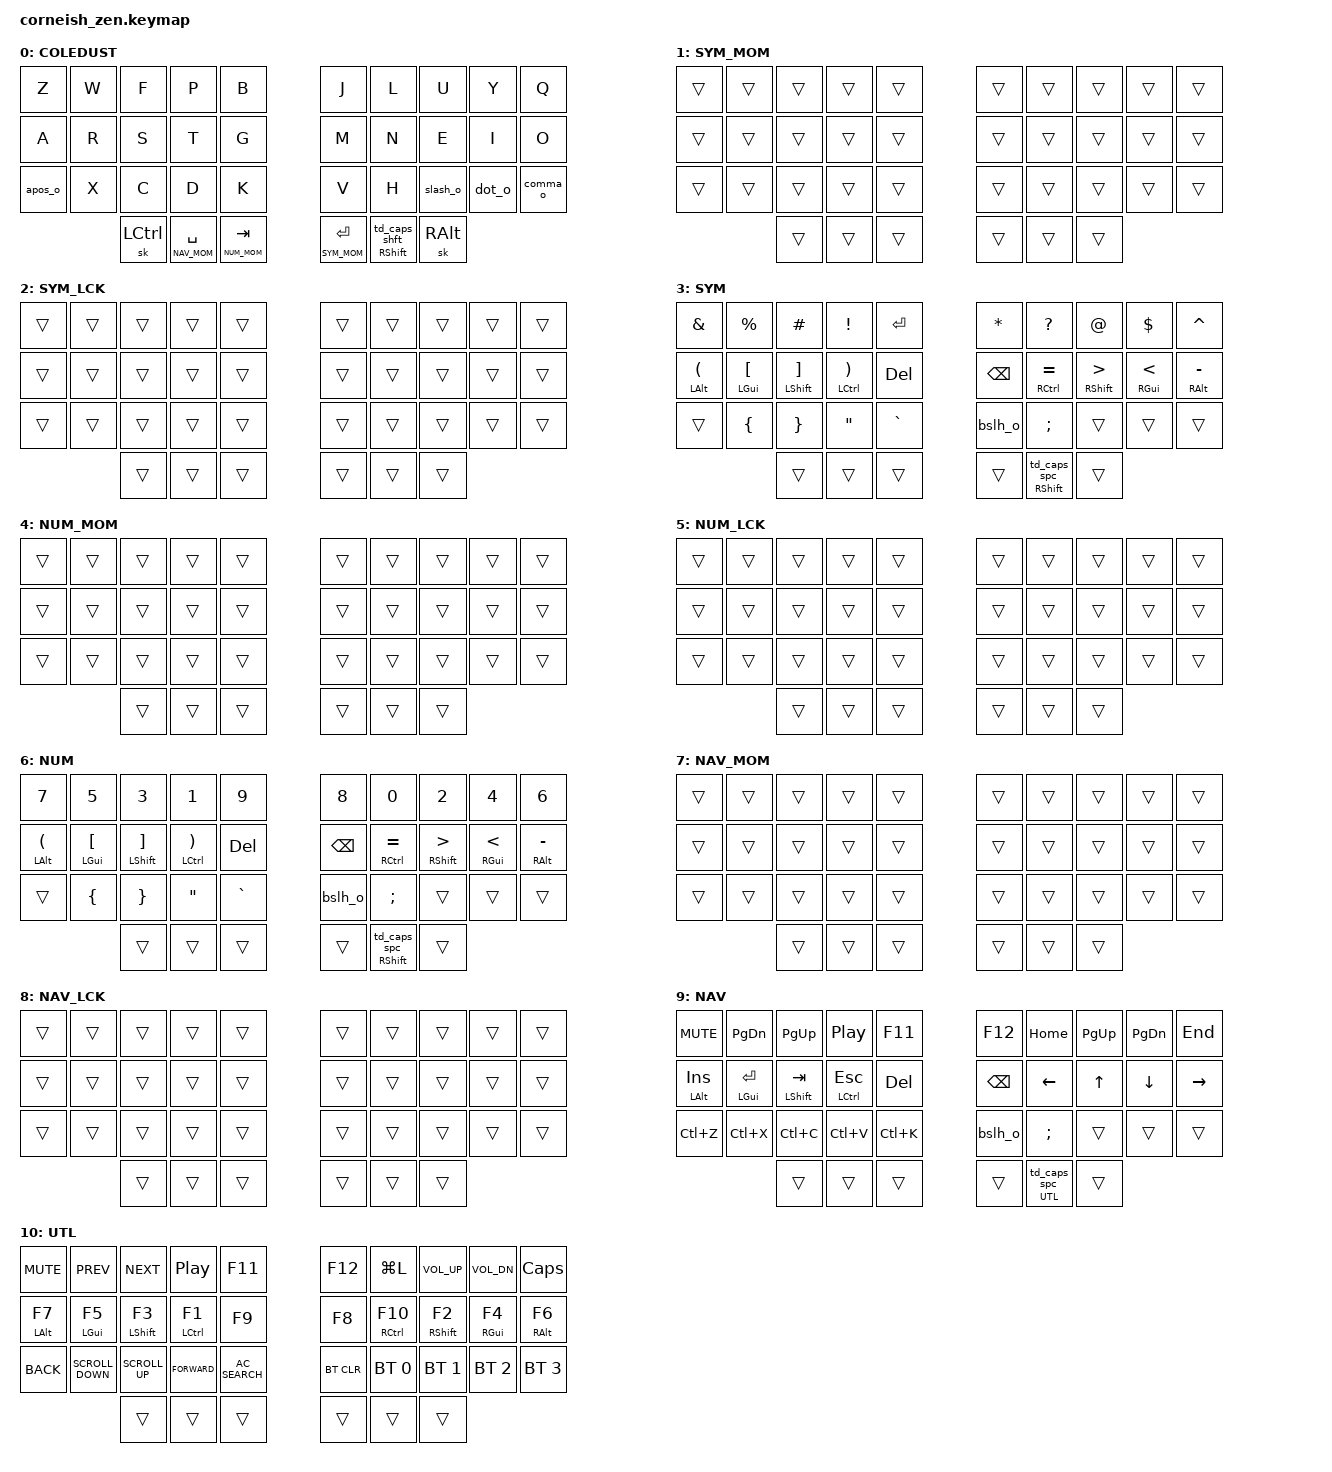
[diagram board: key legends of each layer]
#include <behaviors.dtsi>
#include <dt-bindings/zmk/keys.h>
#include <dt-bindings/zmk/bt.h>

#define DFT      0
#define SYM_MOM  1
#define SYM_LCK  2
#define SYM      3
#define NUM_MOM  4
#define NUM_LCK  5
#define NUM      6
#define NAV_MOM  7
#define NAV_LCK  8
#define NAV      9
#define UTL      10


/ {
  chosen {
      zmk,physical-layout = &foostan_corne_6col_layout;
      // zmk,physical-layout = &foostan_corne_5col_layout;
  };
};

/ {
conditional_layers {
    compatible = "zmk,conditional-layers";
    nav_mom {
        if-layers = <NAV_MOM>;
        then-layer = <NAV>;
    };
    nav_lck {
        if-layers = <NAV_LCK>;
        then-layer = <NAV>;
    };
    num_mom {
        if-layers = <NUM_MOM>;
        then-layer = <NUM>;
    };
    num_lck {
        if-layers = <NUM_LCK>;
        then-layer = <NUM>;
    };
    sym_mom {
        if-layers = <SYM_MOM>;
        then-layer = <SYM>;
    };
    sym_lck {
        if-layers = <SYM_LCK>;
        then-layer = <SYM>;
    };
};

behaviors {
  hm: homerow_mods {
        compatible = "zmk,behavior-hold-tap";
        label = "HOMEROW_MODS";
        #binding-cells = <2>;
        tapping_term_ms = <200>;
        flavor = "tap-preferred";
        bindings = <&kp>, <&kp>;
  };

  td_caps_shft: shift_tap_dance {
      compatible = "zmk,behavior-tap-dance";
      #binding-cells = <0>;
      tapping-term-ms = <200>;
      bindings = <&sk LSHFT>, <&caps_word>, <&kp CAPSLOCK>;
  };
  mt_caps_shft: modtap_caps_shift_tap_dance {
      compatible = "zmk,behavior-hold-tap";
      label = "modtap_caps_shift_tap_dance";
      #binding-cells = <2>;
      flavor = "tap-preferred";
      tapping-term-ms = <200>;
      quick-tap-ms = <175>;
      bindings = <&kp>, <&td_caps_shft>;
  };
  td_caps_spc:  space_tap_dance {
      compatible = "zmk,behavior-tap-dance";
      #binding-cells = <0>;
      tapping-term-ms = <200>;
      bindings = <&kp SPACE>, <&caps_word>, <&kp SPACE>;
  };
  lt_caps_spc: layertap_capsword_space_tap_dance {
      compatible = "zmk,behavior-hold-tap";
      label = "layertap_capsword_space_tap_dance";
      #binding-cells = <2>;
      flavor = "tap-preferred";
      tapping-term-ms = <200>;
      quick-tap-ms = <175>;
      bindings = <&mo>, <&td_caps_spc>;
  };
  mt_caps_spc: modtap_caps_space_tap_dance {
      compatible = "zmk,behavior-hold-tap";
      label = "modtap_caps_space_tap_dance";
      #binding-cells = <2>;
      flavor = "tap-preferred";
      tapping-term-ms = <200>;
      quick-tap-ms = <175>;
      bindings = <&kp>, <&td_caps_spc>;
  };

  apos_o: apos_only {
      compatible = "zmk,behavior-mod-morph";
      #binding-cells = <0>;
      bindings = <&kp APOS>, <&kp APOS>;
      mods = <(MOD_LSFT|MOD_RSFT)>;
  };
  grave_o: grave_only {
      compatible = "zmk,behavior-mod-morph";
      #binding-cells = <0>;
      bindings = <&kp GRAVE>, <&kp GRAVE>;
      mods = <(MOD_LSFT|MOD_RSFT)>;
  };
  semi_o: semi_only {
      compatible = "zmk,behavior-mod-morph";
      #binding-cells = <0>;
      bindings = <&kp SEMI>, <&kp SEMI>;
      mods = <(MOD_LSFT|MOD_RSFT)>;
  };
  bslh_o: bslh_only {
      compatible = "zmk,behavior-mod-morph";
      #binding-cells = <0>;
      bindings = <&kp BSLH>, <&kp BSLH>;
      mods = <(MOD_LSFT|MOD_RSFT)>;
  };
  slash_o: slash_only {
      compatible = "zmk,behavior-mod-morph";
      #binding-cells = <0>;
      bindings = <&kp SLASH>, <&kp SLASH>;
      mods = <(MOD_LSFT|MOD_RSFT)>;
  };
  dot_o: dot_only {
      compatible = "zmk,behavior-mod-morph";
      #binding-cells = <0>;
      bindings = <&kp DOT>, <&kp DOT>;
      mods = <(MOD_LSFT|MOD_RSFT)>;
  };
  comma_o: comma_only {
      compatible = "zmk,behavior-mod-morph";
      #binding-cells = <0>;
      bindings = <&kp COMMA>, <&kp COMMA>;
      mods = <(MOD_LSFT|MOD_RSFT)>;
  };


  combos {
    compatible = "zmk,combos";
    
  // ---------------------------- Combos ----------------------------
  // |#####|  %  |  #  |  !  |  &  |  *  |  ^  |  @  |  $  |#####|
  //    7     5     3     1     9     8     0     2     4     6
  // |#####| ALT | LCK |     | DEL | BSPC|  :  |  _  |  -  |#####|
  //    (     [     ]     )     ~     |     =     >     <     +
  // |#####|  {  |  }  |  "  |  `  |  \  |  ;  |  ?  |  |  |#####|
  //             |     |     |     |     |     |     |

    // LHS Vertical 2-key combos
    combo2_7_vert {
        timeout-ms = <50>;
        key-positions = <0 10>;
        bindings = <&kp N7>;
        layers = <DFT NAV NUM SYM>;
    };
    combo2_5_vert {
        timeout-ms = <50>;
        key-positions = <1 11>;
        bindings = <&kp N5>;
        layers = <DFT NAV NUM SYM>;
    };
    combo2_3_vert {
        timeout-ms = <50>;
        key-positions = <2 12>;
        bindings = <&kp N3>;
        layers = <DFT NAV NUM SYM>;
    };
    combo2_1_vert {
        timeout-ms = <50>;
        key-positions = <3 13>;
        bindings = <&kp N1>;
        layers = <DFT NAV NUM SYM>;
    };
    combo2_9_vert {
        timeout-ms = <50>;
        key-positions = <4 14>;
        bindings = <&kp N9>;
        layers = <DFT NAV NUM SYM>;
    };

    combo2_lpar_vert {
        timeout-ms = <50>;
        key-positions = <10 20>;
        bindings = <&kp LPAR>;
        layers = <DFT NAV NUM SYM>;
    };
    combo2_lbkt_vert {
        timeout-ms = <50>;
        key-positions = <11 21>;
        bindings = <&kp LBKT>;
        layers = <DFT NAV NUM SYM>;
    };
    combo2_rbkt_vert {
        timeout-ms = <50>;
        key-positions = <12 22>;
        bindings = <&kp RBKT>;
        layers = <DFT NAV NUM SYM>;
    };
    combo2_rpar_vert {
        timeout-ms = <50>;
        key-positions = <13 23>;
        bindings = <&kp RPAR>;
        layers = <DFT NAV NUM SYM>;
    };
    combo2_tilde_vert {
        timeout-ms = <50>;
        key-positions = <14 24>;
        bindings = <&kp TILDE>;
        layers = <DFT NAV NUM SYM>;
    };

    // LHS 2-key combos
    combo2_percent {
        timeout-ms = <50>;
        key-positions = <0 1>;
        bindings = <&kp PERCENT>;
        layers = <DFT NAV NUM SYM>;
    };
    combo2_hash {
        timeout-ms = <50>;
        key-positions = <1 2>;
        bindings = <&kp HASH>;
        layers = <DFT NAV NUM SYM>;
    };
    combo2_excl {
        timeout-ms = <50>;
        key-positions = <2 3>;
        bindings = <&kp EXCL>;
        layers = <DFT NAV NUM SYM>;
    };
    combo2_ampersand {
        timeout-ms = <50>;
        key-positions = <3 4>;
        bindings = <&kp AMPERSAND>;
        layers = <DFT NAV NUM SYM>;
    };

    combo2_alt {
        timeout-ms = <50>;
        key-positions = <10 11>;
        bindings = <&sk LALT>;
        layers = <DFT NAV NUM SYM>;
    };    
    combo2_nav_lck {
        timeout-ms = <50>;
        key-positions = <11 12>;
        bindings = <&tog NAV_LCK>;
        layers = <NAV>;
    };
    combo2_num_lck {
        timeout-ms = <50>;
        key-positions = <11 12>;
        bindings = <&tog NUM_LCK>;
        layers = <NUM>;
    };
    combo2_sym_lck {
        timeout-ms = <50>;
        key-positions = <11 12>;
        bindings = <&tog SYM_LCK>;
        layers = <SYM>;
    };
    combo2_del {
        timeout-ms = <50>;
        key-positions = <13 14>;
        bindings = <&kp DEL>;
        layers = <DFT NAV NUM SYM>;
    };

    combo2_lbrc {
        timeout-ms = <50>;
        key-positions = <20 21>;
        bindings = <&kp LBRC>;
        layers = <DFT NAV NUM SYM>;
    };
    combo2_rbrc {
        timeout-ms = <50>;
        key-positions = <21 22>;
        bindings = <&kp RBRC>;
        layers = <DFT NAV NUM SYM>;
    };
    combo2_dqt {
        timeout-ms = <50>;
        key-positions = <22 23>;
        bindings = <&kp DQT>;
        layers = <DFT NAV NUM SYM>;
    };
    combo2_grave {
        timeout-ms = <50>;
        key-positions = <23 24>;
        bindings = <&grave_o>;
        layers = <DFT NAV NUM SYM>;
    };

    // LHS 3-key combos
    combo3_mute {
        timeout-ms = <50>;
        key-positions = <0 1 2>;
        bindings = <&kp C_MUTE>;
        layers = <DFT NAV NUM SYM>;
    };
    combo3_play {
        timeout-ms = <50>;
        key-positions = <1 2 3>;
        bindings = <&kp C_PP>;
        layers = <DFT NAV NUM SYM>;
    };
    combo3_one {
        timeout-ms = <50>;
        key-positions = <2 3 4>;
        bindings = <&kp N1>;
        layers = <DFT NAV NUM SYM>;
    };  
    
    combo3_lpar {
        timeout-ms = <50>;
        key-positions = <10 11 12>;
        bindings = <&kp LPAR>;
        layers = <DFT NAV NUM SYM>;
    };
    combo3_rpar {
        timeout-ms = <50>;
        key-positions = <11 12 13>;
        bindings = <&kp RPAR>;
        layers = <DFT NAV NUM SYM>;
    };
    combo3_del {
        timeout-ms = <50>;
        key-positions = <12 13 14>;
        bindings = <&kp DEL>;
        layers = <DFT NAV NUM SYM>;
    };
    
    combo3_lbkt {
        timeout-ms = <50>;
        key-positions = <20 21 22>;
        bindings = <&kp LBKT>;
        layers = <DFT NAV NUM SYM>;
    };
    combo3_rbkt {
        timeout-ms = <50>;
        key-positions = <21 22 23>;
        bindings = <&kp RBKT>;
        layers = <DFT NAV NUM SYM>;
    };
    combo3_semi_lhs {
        timeout-ms = <50>;
        key-positions = <22 23 24>;
        bindings = <&semi_o>;
        layers = <DFT NAV NUM SYM>;
    };

    // LHS 4-key combos
    combo4_shifttab {
        timeout-ms = <50>;
        key-positions = <0 1 2 3>;
        bindings = <&kp LS(TAB)>;
        layers = <DFT NAV NUM SYM>;
    };
    combo4_shiftenter {
        timeout-ms = <50>;
        key-positions = <1 2 3 4>;
        bindings = <&kp LS(ENTER)>;
        layers = <DFT NAV NUM SYM>;
    };

    combo4_esc {
        timeout-ms = <50>;
        key-positions = <10 11 12 13>;
        bindings = <&kp ESC>;
        layers = <DFT NAV NUM SYM>;
    };
    combo4_enter {
        timeout-ms = <50>;
        key-positions = <11 12 13 14>;
        bindings = <&kp ENTER>;
        layers = <DFT NAV NUM SYM>;
    };

    combo4_left {
        timeout-ms = <50>;
        key-positions = <20 21 22 23>;
        bindings = <&kp LEFT>;
        layers = <DFT NAV NUM SYM>;
    };
    combo4_right {
        timeout-ms = <50>;
        key-positions = <21 22 23 24>;
        bindings = <&kp RIGHT>;
        layers = <DFT NAV NUM SYM>;
    };

    // RHS Combos
    // ----------------------------------------------------------------------------------------------------------------------------

    // RHS vertical combos    
    combo2_8_vert {
        timeout-ms = <50>;
        key-positions = <5 15>;
        bindings = <&kp N8>;
        layers = <DFT NAV NUM SYM>;
    };
    combo2_0_vert {
        timeout-ms = <50>;
        key-positions = <6 16>;
        bindings = <&kp N0>;
        layers = <DFT NAV NUM SYM>;
    };
    combo2_2_vert {
        timeout-ms = <50>;
        key-positions = <7 17>;
        bindings = <&kp N2>;
        layers = <DFT NAV NUM SYM>;
    };
    combo2_4_vert {
        timeout-ms = <50>;
        key-positions = <8 18>;
        bindings = <&kp N4>;
        layers = <DFT NAV NUM SYM>;
    };
    combo2_6_vert {
        timeout-ms = <50>;
        key-positions = <9 19>;
        bindings = <&kp N6>;
        layers = <DFT NAV NUM SYM>;
    };

    combo2_pipe_vert {
        timeout-ms = <50>;
        key-positions = <15 25>;
        bindings = <&kp PIPE>;
        layers = <DFT NAV NUM SYM>;
    };
    combo2_equal_vert {
        timeout-ms = <50>;
        key-positions = <16 26>;
        bindings = <&kp EQUAL>;
        layers = <DFT NAV NUM SYM>;
    };
    combo2_gt_vert {
        timeout-ms = <50>;
        key-positions = <17 27>;
        bindings = <&kp GT>;
        layers = <DFT NAV NUM SYM>;
    };
    combo2_lt_vert {
        timeout-ms = <50>;
        key-positions = <18 28>;
        bindings = <&kp LT>;
        layers = <DFT NAV NUM SYM>;
    };
    combo2_plus_vert {
        timeout-ms = <50>;
        key-positions = <19 29>;
        bindings = <&kp PLUS>;
        layers = <DFT NAV NUM SYM>;
    };

    // RHS 2-key combos    
    combo2_star {
        timeout-ms = <50>;
        key-positions = <5 6>;
        bindings = <&kp STAR>;
        layers = <DFT NAV NUM SYM>;
    };
    combo2_caret {
        timeout-ms = <50>;
        key-positions = <6 7>;
        bindings = <&kp CARET>;
        layers = <DFT NAV NUM SYM>;
    };
    combo2_at {
        timeout-ms = <50>;
        key-positions = <7 8>;
        bindings = <&kp AT_SIGN>;
        layers = <DFT NAV NUM SYM>;
    };
    combo2_dollar {
        timeout-ms = <50>;
        key-positions = <8 9>;
        bindings = <&kp DOLLAR>;
        layers = <DFT NAV NUM SYM>;
    };

    combo2_bspc {
        timeout-ms = <50>;
        key-positions = <15 16>;
        bindings = <&kp BSPC>;
        layers = <DFT NAV NUM SYM>;
    };
    combo2_colon {
        timeout-ms = <50>;
        key-positions = <16 17>;
        bindings = <&kp COLON>;
        layers = <DFT NAV NUM SYM>;
    };
    combo2_underscore {
        timeout-ms = <50>;
        key-positions = <17 18>;
        bindings = <&kp UNDERSCORE>;
        layers = <DFT NAV NUM SYM>;
    };
    combo2_minus {
        timeout-ms = <50>;
        key-positions = <18 19>;
        bindings = <&kp MINUS>;
        layers = <DFT NAV NUM SYM>;
    };

    combo2_bslh {
        timeout-ms = <50>;
        key-positions = <25 26>;
        bindings = <&bslh_o>;
        layers = <DFT NAV NUM SYM>;
    };
    combo2_semi {
        timeout-ms = <50>;
        key-positions = <26 27>;
        bindings = <&kp SEMI>;
        layers = <DFT NAV NUM SYM>;
    };
    combo2_question {
        timeout-ms = <50>;
        key-positions = <27 28>;
        bindings = <&kp QUESTION>;
        layers = <DFT NAV NUM SYM>;
    };
    combo2_pipe {
        timeout-ms = <50>;
        key-positions = <28 29>;
        bindings = <&kp PIPE>;
        layers = <DFT NAV NUM SYM>;
    };

    // RHS 3-key combos
    combo3_zero {
        timeout-ms = <50>;
        key-positions = <5 6 7>;
        bindings = <&kp N0>;
        layers = <DFT NAV NUM SYM>;
    };
    combo3_caret {
        timeout-ms = <50>;
        key-positions = <6 7 8>;
        bindings = <&kp CARET>;
        layers = <DFT NAV NUM SYM>;
    };
    combo3_dollar {
        timeout-ms = <50>;
        key-positions = <7 8 9>;
        bindings = <&kp DOLLAR>;
        layers = <DFT NAV NUM SYM>;
    };
    
    combo3_app {
        timeout-ms = <50>;
        key-positions = <15 16 17>;
        bindings = <&kp K_APP>;
        layers = <DFT NAV NUM SYM>;
    };
    combo3_rbrc_rhs {
        timeout-ms = <50>;
        key-positions = <16 17 18>;
        bindings = <&kp RBRC>;
        layers = <DFT NAV NUM SYM>;
    };
    combo3_lbrc_rhs {
        timeout-ms = <50>;
        key-positions = <17 18 19>;
        bindings = <&kp LBRC>;
        layers = <DFT NAV NUM SYM>;
    };
    
    combo3_semi_rhs {
        timeout-ms = <50>;
        key-positions = <25 26 27>;
        bindings = <&semi_o>;
        layers = <DFT NAV NUM SYM>;
    };
    combo3_gt {
        timeout-ms = <50>;
        key-positions = <26 27 28>;
        bindings = <&kp GT>;
        layers = <DFT NAV NUM SYM>;
    };
    combo3_lt {
        timeout-ms = <50>;
        key-positions = <27 28 29>;
        bindings = <&kp LT>;
        layers = <DFT NAV NUM SYM>;
    };

    // RHS 4-key combos
    combo4_pgup {
        timeout-ms = <50>;
        key-positions = <5 6 7 8>;
        bindings = <&kp PGUP>;
        layers = <DFT NAV NUM SYM>;
    };  
    combo4_pgdn {
        timeout-ms = <50>;
        key-positions = <6 7 8 9>;
        bindings = <&kp PGDN>;
        layers = <DFT NAV NUM SYM>;
    };
    
    combo4_end {
        timeout-ms = <50>;
        key-positions = <15 16 17 18>;
        bindings = <&kp END>;
        layers = <DFT NAV NUM SYM>;
    };  
    combo4_home {
        timeout-ms = <50>;
        key-positions = <16 17 18 19>;
        bindings = <&kp HOME>;
        layers = <DFT NAV NUM SYM>;
    };

    combo4_up {
        timeout-ms = <50>;
        key-positions = <25 26 27 28>;
        bindings = <&kp UP>;
        layers = <DFT NAV NUM SYM>;
    };
    combo4_down {
        timeout-ms = <50>;
        key-positions = <26 27 28 29>;
        bindings = <&kp DOWN>;
        layers = <DFT NAV NUM SYM>;
    };

  };

};

        keymap {
                compatible = "zmk,keymap";

                default_layer {
                        label = "COLEDUST";
// -----------------------------------------------------------------------------------------
// |  Z  |  W  |  F  |  P    |  B    |    J  |   L   |  U  |  Y  |  Q  |
// |  A  |  R  |  S  |  T    |  G    |    M  |   N   |  E  |  I  |  O  |
// |  '  |  X  |  C  |  D    |  K    |    V  |   H   |  /  |  .  |  ,  |
//             | CTL |NAV/SFT|NUM/TAB|SYM/ENT|SFT/SPC| ALT |
                        bindings = <
   &kp Z         &kp W        &kp F                   &kp P           &kp B       &kp J      &kp L             &kp U                  &kp Y       &kp Q
   &kp A         &kp R        &kp S                   &kp T           &kp G       &kp M      &kp N             &kp E                  &kp I       &kp O
   &apos_o       &kp X        &kp C                   &kp D           &kp K       &kp V      &kp H             &slash_o               &dot_o      &comma_o
                 &sk LCTRL    &lt NAV_MOM SPACE       &lt NUM_MOM TAB                        &lt SYM_MOM ENTER &mt_caps_shft RSHFT 0   &sk RALT
                        >;
                };

                sym_mom_layer {
                        label = "SYM_MOM";
                        bindings = <
   &trans       &trans       &trans       &trans       &trans              &trans       &trans       &trans       &trans       &trans
   &trans       &trans       &trans       &trans       &trans              &trans       &trans       &trans       &trans       &trans
   &trans       &trans       &trans       &trans       &trans              &trans       &trans       &trans       &trans       &trans
                &trans       &trans       &trans                                        &trans       &trans       &trans
                        >;
                };

                sym_lck_layer {
                        label = "SYM_LCK";
                        bindings = <
   &trans       &trans       &trans       &trans       &trans              &trans       &trans       &trans       &trans       &trans
   &trans       &trans       &trans       &trans       &trans              &trans       &trans       &trans       &trans       &trans
   &trans       &trans       &trans       &trans       &trans              &trans       &trans       &trans       &trans       &trans
                &trans       &trans      &trans                            &trans       &trans       &trans
                        >;
                };

                sym_layer {
                        label = "SYM";
// --------------------------- SYM Layer ---------------------------
// |  &  |  %  |  #  |  !  |ENTER|  *  |  ?  |  @  |  $  |  ^  |
// |  (  |  [  |  ]  |  )  | DEL | BSPC|  =  |  >  |  <  |  -  |
// |  '  |  {  |  }  |  "  |  `  |  \  |  ;  |  /  |  .  |  ,  |
//             |     |     |     |     |     |     |
                        bindings = <
   &kp AMPERSAND &kp PERCENT   &kp HASH          &kp EXCL       &kp ENTER   &kp STAR   &kp QUESTION    &kp AT_SIGN            &kp DOLLAR     &kp CARET
   &hm LALT LPAR &hm LGUI LBKT &hm LSHFT RBKT    &hm LCTRL RPAR &kp DEL     &kp BSPC   &hm RCTRL EQUAL &hm RSHFT GT           &hm RGUI LT    &hm RALT MINUS
   &trans        &kp LBRC      &kp RBRC          &kp DQT        &kp GRAVE   &bslh_o    &kp SEMI        &trans                 &trans         &trans
                 &trans        &trans            &trans                                &trans          &mt_caps_spc RSHFT 0   &trans
                        >;
                };

                num_mom_layer {
                        label = "NUM_MOM";
                        bindings = <
   &trans       &trans       &trans       &trans       &trans              &trans       &trans       &trans       &trans       &trans
   &trans       &trans       &trans       &trans       &trans              &trans       &trans       &trans       &trans       &trans
   &trans       &trans       &trans       &trans       &trans              &trans       &trans       &trans       &trans       &trans
                &trans       &trans       &trans                                        &trans       &trans       &trans
                        >;
                };

                num_lck_layer {
                        label = "NUM_LCK";
                        bindings = <
   &trans       &trans       &trans       &trans       &trans              &trans       &trans       &trans       &trans       &trans
   &trans       &trans       &trans       &trans       &trans              &trans       &trans       &trans       &trans       &trans
   &trans       &trans       &trans       &trans       &trans              &trans       &trans       &trans       &trans       &trans
                &trans       &trans       &trans                                        &trans       &trans       &trans
                        >;
                };

                num_layer {
                        label = "NUM";
// -----------------------------------------------------------------------------------------
// |  7  |  5  |  3  |  1  |  9  |  8  |  0  |  2  |  4  |  6  |
// |  (  |  [  |  ]  |  )  | DEL | BSPC|  =  |  >  |  <  |  -  |
// |  '  |  {  |  }  |  "  |  `  |  \  |  ;  |  /  |  .  |  ,  |
//             |     |     |     |     |     |     |
                        bindings = <
   &kp N7        &kp N5        &kp N3            &kp N1         &kp N9      &kp N8     &kp N0          &kp N2                 &kp N4         &kp N6
   &hm LALT LPAR &hm LGUI LBKT &hm LSHFT RBKT    &hm LCTRL RPAR &kp DEL     &kp BSPC   &hm RCTRL EQUAL &hm RSHFT GT           &hm RGUI LT    &hm RALT MINUS
   &trans        &kp LBRC      &kp RBRC          &kp DQT        &kp GRAVE   &bslh_o    &kp SEMI        &trans                 &trans         &trans
                 &trans        &trans            &trans                                &trans          &mt_caps_spc RSHFT 0   &trans
                          >;
                };

                nav_mom_layer {
                        label = "NAV_MOM";
                        bindings = <
   &trans       &trans       &trans       &trans       &trans              &trans       &trans       &trans       &trans       &trans
   &trans       &trans       &trans       &trans       &trans              &trans       &trans       &trans       &trans       &trans
   &trans       &trans       &trans       &trans       &trans              &trans       &trans       &trans       &trans       &trans
                &trans       &trans       &trans                                        &trans       &trans       &trans
                        >;
                };

                nav_lck_layer {
                        label = "NAV_LCK";
                        bindings = <
   &trans       &trans       &trans       &trans       &trans              &trans       &trans       &trans       &trans       &trans
   &trans       &trans       &trans       &trans       &trans              &trans       &trans       &trans       &trans       &trans
   &trans       &trans       &trans       &trans       &trans              &trans       &trans       &trans       &trans       &trans
                &trans       &trans       &trans                                        &trans       &trans       &trans
                        >;
                };

                nav_layer {
                        label = "NAV";
// -----------------------------------------------------------------------------------------
// | MUTE| PGDN| PGUP| PLAY| F11 | F12  | HOME | PGUP | PGDN | END  |
// | INS | RET | TAB | ESC | DEL | BSPC | LEFT |  UP  | DOWN | RIGHT|
// | UNDO| CUT | COPY|PASTE|CTL+K|  \   |  ;   |  /   |  .   |  ,   |
//             |     |     |     |      |      |      |
                        bindings = <
   &kp C_MUTE    &kp PG_DN    &kp PG_UP         &kp C_PP      &kp F11     &kp F12    &kp HOME        &kp PG_UP                &kp PG_DN  &kp END
   &hm LALT INS  &hm LGUI RET &hm LSHFT TAB     &hm LCTRL ESC &kp DEL     &kp BSPC   &kp LEFT        &kp UP                   &kp DOWN   &kp RIGHT
   &kp LC(Z)     &kp LC(X)    &kp LC(C)         &kp LC(V)     &kp LC(K)   &bslh_o    &kp SEMI        &trans                   &trans     &trans
                 &trans       &trans            &trans                               &trans          &lt_caps_spc UTL 0       &trans
                        >;
                };

                utl_layer {
                        label = "UTL";
// -----------------------------------------------------------------------------------------
// | MUTE| PREV| NEXT| PLAY | F11 |  F12 | LOCK |VOL_UP|VOL_DN|CPSLCK|
// | F7  | F5  | F3  | F1   | F9  |  F8  |  F10 |  F2  |  F4  |  F6  |
// | BACK| DOWN| UP  | FWD  | ??? | BTCLR|  BT0 |  BT1 |  BT2 |  BT3 |
//             |     |      |     |      |      |      |
                        bindings = <
   &kp C_MUTE   &kp C_PREV        &kp C_NEXT      &kp C_PP      &kp F11         &kp F12    &kp LG(L)       &kp C_VOL_UP    &kp C_VOL_DN   &kp CAPSLOCK
   &hm LALT F7  &hm LGUI F5       &hm LSHFT F3    &hm LCTRL F1  &kp F9          &kp F8     &hm RCTRL F10   &hm RSHFT F2    &hm RGUI F4    &hm RALT F6
   &kp K_BACK   &kp K_SCROLL_DOWN &kp K_SCROLL_UP &kp K_FORWARD &kp C_AC_SEARCH &bt BT_CLR &bt BT_SEL 0    &bt BT_SEL 1    &bt BT_SEL 2   &bt BT_SEL 3
                &trans            &trans          &trans                                   &trans          &trans          &trans
                        >;
                };
                
    };
};
